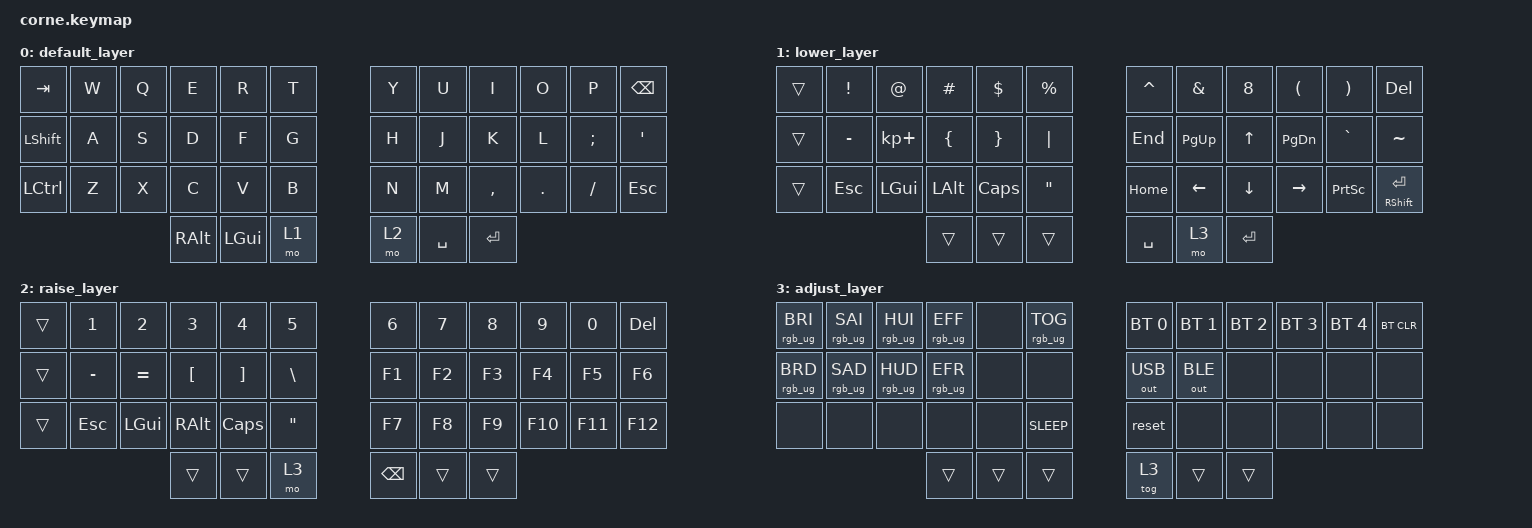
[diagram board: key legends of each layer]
# This file generates the GitHub Actions matrix
---
include:
  # 1. Левая половина (центральная / master)
  - board: nice_nano_v2
    shield: corne_left

  # 2. Правая половина (периферийная / slave)
  - board: nice_nano_v2
    shield: corne_right

  # 3. Прошивка для сброса настроек (Bond Clear) - ОТДЕЛЬНЫЙ ЭЛЕМЕНТ СПИСКА
  - board: nice_nano_v2
    shield: settings_reset

/*
 * Copyright (c) 2020 The ZMK Contributors
 *
 * SPDX-License-Identifier: MIT
 */

#include <behaviors.dtsi>
#include <dt-bindings/zmk/keys.h>
#include <dt-bindings/zmk/bt.h>
#include <dt-bindings/zmk/rgb.h>
#include <dt-bindings/zmk/ext_power.h>
#include <dt-bindings/zmk/outputs.h>

/ {
        keymap {
                compatible = "zmk,keymap";

                default_layer {
// -------------------------------------------------------------------------------------
// |  TAB |  Q  |  W  |  E  |  R  |  T  |       |  Y  |  U   |  I  |  O  |  P  |   BKSP    |
// | SHFT |  A  |  S  |  D  |  F  |  G  |       |  H  |  J   |  K  |  L  |  ;  |    '      |
// | CTRL |  Z  |  X  |  C  |  V  |  B  |       |  N  |  M   |  ,  |  .  |  /  | SHFT(RET) |
//                    | ALT | WIN | LWR |       | RSE | SPC  | RTN |
                        bindings = <
&kp TAB    &kp W  &kp Q  &kp E   &kp R  &kp T      &kp Y  &kp U  &kp I     &kp O   &kp P    &kp BSPC
&kp LSHFT  &kp A  &kp S  &kp D   &kp F  &kp G      &kp H  &kp J  &kp K     &kp L   &kp SEMI &kp SQT
&kp LCTRL  &kp Z  &kp X  &kp C   &kp V  &kp B      &kp N  &kp M  &kp COMMA &kp DOT &kp FSLH &kp ESC
                    &kp RALT  &kp LGUI  &mo 1      &mo 2  &kp SPACE  &kp RET 
                        >;
                };

                lower_layer {
// ----------------------------------------------------------------------------------
// |    |  !  |  @  |  #  |  $  |  %  |          |  ^  |  &  |  *  |  (  |  )  |    DEL   |
// |    |  _  |  +  |  {  |  }  | "|" |          | LFT | PGUP|  UP |PGDN|  `  |     ~     |
// |    | ESC | GUI | ALT | CAPS|  "  |          | HOME| LFT | DWN | RGT| PRSC| SHFT(RET) |
//                        |     |     |           | ADJ | SPC |  RET  |
                        bindings = <
&trans  &kp EXCL   &kp AT &kp HASH &kp DLLR  &kp PRCNT     &kp CARET  &kp AMPS  &kp N8    &kp LPAR  &kp RPAR  &kp DEL
&trans  &kp MINUS  &kp KP_PLUS     &kp LBRC  &kp RBRC      &kp PIPE   &kp END   &kp PG_UP &kp UP    &kp PG_DN &kp GRAVE &kp TILDE
&trans  &kp ESC    &kp LGUI        &kp LALT  &kp CLCK      &kp DQT    &kp HOME  &kp LEFT  &kp DOWN  &kp RIGHT &kp PSCRN &mt RSHFT RET
                        &trans      &trans     &trans      &kp SPACE    &mo 3       &kp RET
                        >;
                };

                raise_layer {
// -----------------------------------------------------------------------------------------
// |    |  1  |  2  |  3  |  4  |  5  |   |  6  |  7  |  8  |  9  |  0  | DEL |
// |    |  -  |  =  |  [  |  ]  |  \  |   | F1  | F2  | F3  | F4  | F5  | F6  |
// |    | ESC | GUI | ALT | CAPS|  "  |   | F7  | F8  | F9  | F10 | F11 | F12 |
//                       |     | ADJ | BKSP |    |     |
                        bindings = <
   &trans &kp N1    &kp N2    &kp N3    &kp N4    &kp N5        &kp N6    &kp N7    &kp N8    &kp N9    &kp N0    &kp DEL
   &trans &kp MINUS &kp EQUAL &kp LBKT  &kp RBKT  &kp BSLH      &kp F1    &kp F2    &kp F3    &kp F4    &kp F5    &kp F6
   &trans &kp ESC   &kp LGUI  &kp RALT  &kp CLCK  &kp DQT       &kp F7    &kp F8    &kp F9    &kp F10   &kp F11   &kp F12
                             &trans      &trans &mo 3       &kp BSPC        &trans      &trans
                        >;
                };

                adjust_layer {
// -----------------------------------------------------------------------------------------
// | RGB BRI+ | RGB SAT+ | RGB HUE+ | RGB ANI+ |    | RGB TOG |   |  BT1  | BT2 | BT3 | BT4 | BT5 | BT CLR |
// | RGB BRI- | RGB SAT- | RGB HUE- | RGB ANI- |    |         |   |  USB  | BLE |     |     |     |        |
// |          |          |          |          |    | K_SLEEP |   | RESET |     |     |     |     |        |
//                                              |     |     |     |     |     |
                        bindings = <
   &rgb_ug RGB_BRI &rgb_ug RGB_SAI &rgb_ug RGB_HUI &rgb_ug RGB_EFF &none        &rgb_ug RGB_TOG           &bt BT_SEL 0 &bt BT_SEL 1 &bt BT_SEL 2 &bt BT_SEL 3 &bt BT_SEL 4 &bt BT_CLR
   &rgb_ug RGB_BRD &rgb_ug RGB_SAD &rgb_ug RGB_HUD &rgb_ug RGB_EFR &none        &none                     &out OUT_USB &out OUT_BLE &none        &none        &none        &none
   &none           &none           &none           &none           &none        &kp K_SLEEP               &reset       &none        &none        &none        &none        &none
                                                   &trans          &trans       &trans                    &tog 3       &trans       &trans
                        >;
                };
        };
};
